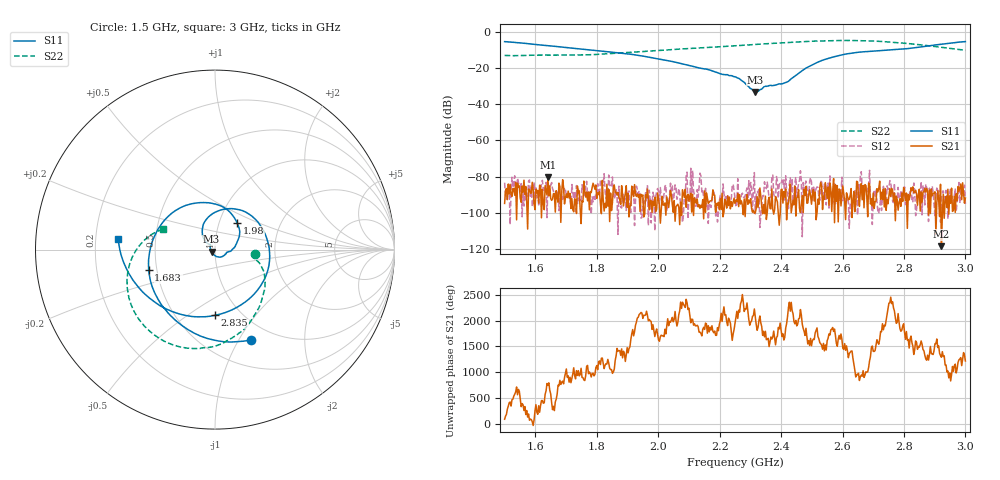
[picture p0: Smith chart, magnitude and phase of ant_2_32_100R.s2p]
! 1/1/2000 12:27:00 AM
! C:\DOCUMENTS AND SETTINGS\VECTORSTARUSER\DESKTOP\231101\ANT_2_32_100R.S2P
! CHANNEL.1
! TR.MEASUREMENT
! CORRECTED.DATA
# HZ S DB R 50.0
! FREQ.HZ  S11DB  S11A  S21DB  S21A  S12DB  S12A  S22DB  S22A
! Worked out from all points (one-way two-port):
!   501 points, 1.5 GHz to 3 GHz, reference 50 ohm
!   highest |S21| = -80.20 dB at 1.641 GHz (marker M1); lowest = -118.5 dB at 2.922 GHz (marker M2)
!   lowest |S11| = -33.1 dB at 2.316 GHz (marker M3), VSWR 1.05, Z = 48.1 - j1.1 ohm
!   |S11| at or under -10 dB: 1.786 GHz to 2.747 GHz (961.5 MHz wide, 42.4 % of centre)
!   |S22| runs from -13.1 to -4.7 dB; largest |S21 - S12| = 0.0002
!   S11 on the Smith chart (normalised r, x): 1.5 GHz: 0.79, -1.13; 1.683 GHz: 0.45, -0.12; 1.98 GHz: 1.21, +0.38; 2.835 GHz: 0.76, -0.65; 3 GHz: 0.30, +0.05
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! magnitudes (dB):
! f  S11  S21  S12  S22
! 1.5 GHz  -5.3  -94.8  -83.4  -13.0
! 1.641 GHz  -7.6  -80.2  -83.5  -12.8
! 1.683 GHz  -8.3  -105.3  -91.9  -12.8
! 1.752 GHz  -9.5  -93.4  -84.5  -12.7
! 1.98 GHz  -14.3  -99.8  -94.1  -10.4
! 2.001 GHz  -14.9  -92.5  -88.3  -10.2
! 2.082 GHz  -17.8  -89.4  -101.4  -9.3
! 2.106 GHz  -18.7  -89.2  -75.4  -9.1
! 2.121 GHz  -19.4  -93.7  -96.3  -8.9
! 2.25 GHz  -24.7  -94.8  -91.8  -7.7
! 2.268 GHz  -26.4  -95.2  -94.4  -7.5
! 2.316 GHz  -33.1  -100.0  -100.6  -6.9
! 2.349 GHz  -30.1  -90.8  -85.6  -6.5
! 2.418 GHz  -27.8  -103.9  -88.0  -5.8
! 2.502 GHz  -18.1  -89.8  -94.1  -5.1
! 2.541 GHz  -15.3  -92.6  -84.0  -4.8
! 2.61 GHz  -12.2  -103.8  -92.1  -4.7
! 2.688 GHz  -10.7  -84.2  -76.5  -4.9
! 2.751 GHz  -10.0  -90.6  -86.2  -5.5
! 2.835 GHz  -8.7  -88.7  -87.9  -6.7
! 2.922 GHz  -6.7  -118.5  -92.7  -8.4
! 3 GHz  -5.3  -91.9  -95.1  -10.1
